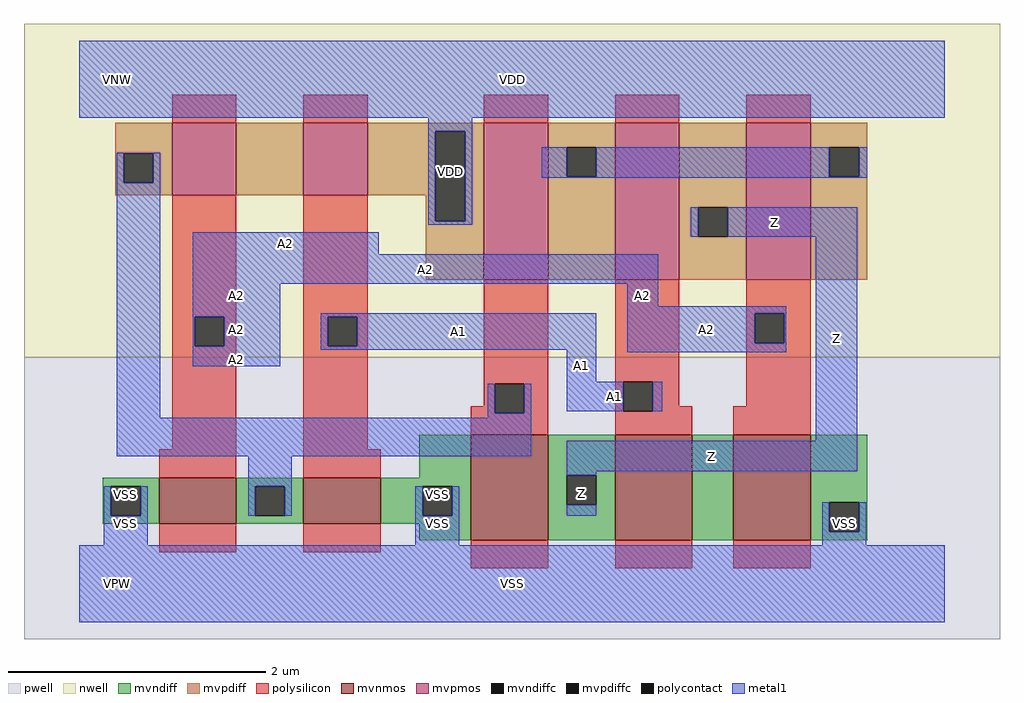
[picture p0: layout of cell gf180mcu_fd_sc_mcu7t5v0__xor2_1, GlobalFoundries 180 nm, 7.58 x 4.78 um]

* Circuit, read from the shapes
.subckt gf180mcu_fd_sc_mcu7t5v0__xor2_1 A1 A2 Z VDD VNW VPW VSS
XM1 n1 A2 VSS VPW nfet_06v0 w=0.36u l=0.6u
XM2 VSS A1 n1 VPW nfet_06v0 w=0.36u l=0.6u
XM3 Z n1 VSS VPW nfet_06v0 w=0.82u l=0.6u
XM4 n2 A1 Z VPW nfet_06v0 w=0.82u l=0.6u
XM5 VSS A2 n2 VPW nfet_06v0 w=0.82u l=0.6u
XM6 n3 A2 n1 VNW pfet_06v0 w=0.56u l=0.5u
XM7 VDD A1 n3 VNW pfet_06v0 w=0.56u l=0.5u
XM8 n4 n1 VDD VNW pfet_06v0 w=1.22u l=0.5u
XM9 Z A1 n4 VNW pfet_06v0 w=1.22u l=0.5u
XM10 n4 A2 Z VNW pfet_06v0 w=1.22u l=0.5u
.ends

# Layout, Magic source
magic
tech gf180mcuD
magscale 1 10
<< nwell >>
rect -86 352 1430 870
<< pwell >>
rect -86 -86 1430 352
<< mvnmos >>
rect 124 93 244 165
rect 348 93 468 165
rect 608 68 728 232
rect 832 68 952 232
rect 1016 68 1136 232
<< mvpmos >>
rect 144 604 244 716
rect 348 604 448 716
rect 628 472 728 716
rect 832 472 932 716
rect 1036 472 1136 716
<< mvndiff >>
rect 528 165 608 232
rect 36 152 124 165
rect 36 106 49 152
rect 95 106 124 152
rect 36 93 124 106
rect 244 152 348 165
rect 244 106 273 152
rect 319 106 348 152
rect 244 93 348 106
rect 468 152 608 165
rect 468 106 533 152
rect 579 106 608 152
rect 468 93 608 106
rect 528 68 608 93
rect 728 169 832 232
rect 728 123 757 169
rect 803 123 832 169
rect 728 68 832 123
rect 952 68 1016 232
rect 1136 127 1224 232
rect 1136 81 1165 127
rect 1211 81 1224 127
rect 1136 68 1224 81
<< mvpdiff >>
rect 56 669 144 716
rect 56 623 69 669
rect 115 623 144 669
rect 56 604 144 623
rect 244 604 348 716
rect 448 703 628 716
rect 448 604 553 703
rect 538 563 553 604
rect 599 563 628 703
rect 538 472 628 563
rect 728 678 832 716
rect 728 632 757 678
rect 803 632 832 678
rect 728 472 832 632
rect 932 585 1036 716
rect 932 539 961 585
rect 1007 539 1036 585
rect 932 472 1036 539
rect 1136 678 1224 716
rect 1136 632 1165 678
rect 1211 632 1224 678
rect 1136 472 1224 632
<< mvndiffc >>
rect 49 106 95 152
rect 273 106 319 152
rect 533 106 579 152
rect 757 123 803 169
rect 1165 81 1211 127
<< mvpdiffc >>
rect 69 623 115 669
rect 553 563 599 703
rect 757 632 803 678
rect 961 539 1007 585
rect 1165 632 1211 678
<< polysilicon >>
rect 144 716 244 760
rect 348 716 448 760
rect 628 716 728 760
rect 832 716 932 760
rect 1036 716 1136 760
rect 144 415 244 604
rect 144 369 179 415
rect 225 369 244 415
rect 144 209 244 369
rect 124 165 244 209
rect 348 415 448 604
rect 348 369 386 415
rect 432 369 448 415
rect 348 209 448 369
rect 628 311 728 472
rect 628 276 645 311
rect 608 265 645 276
rect 691 265 728 311
rect 608 232 728 265
rect 832 314 932 472
rect 832 268 845 314
rect 891 276 932 314
rect 1036 420 1136 472
rect 1036 374 1049 420
rect 1095 374 1136 420
rect 1036 276 1136 374
rect 891 268 952 276
rect 832 232 952 268
rect 1016 232 1136 276
rect 348 165 468 209
rect 124 49 244 93
rect 348 49 468 93
rect 608 24 728 68
rect 832 24 952 68
rect 1016 24 1136 68
<< polycontact >>
rect 179 369 225 415
rect 386 369 432 415
rect 645 265 691 311
rect 845 268 891 314
rect 1049 374 1095 420
<< metal1 >>
rect 0 724 1344 844
rect 542 703 610 724
rect 58 669 126 670
rect 58 623 69 669
rect 115 623 126 669
rect 58 258 126 623
rect 542 563 553 703
rect 599 563 610 703
rect 718 632 757 678
rect 803 632 1165 678
rect 1211 632 1224 678
rect 718 631 1224 632
rect 542 558 610 563
rect 176 512 465 546
rect 950 539 961 585
rect 1007 539 1208 585
rect 176 466 899 512
rect 176 415 312 466
rect 851 431 899 466
rect 851 420 1098 431
rect 176 369 179 415
rect 225 369 312 415
rect 176 338 312 369
rect 375 415 803 420
rect 375 369 386 415
rect 432 369 803 415
rect 375 364 803 369
rect 757 314 803 364
rect 851 374 1049 420
rect 1095 374 1098 420
rect 851 360 1098 374
rect 634 265 645 311
rect 691 265 702 311
rect 757 268 845 314
rect 891 268 905 314
rect 634 258 702 265
rect 58 198 702 258
rect 1144 222 1208 539
rect 262 152 330 198
rect 757 175 1208 222
rect 757 169 803 175
rect 38 106 49 152
rect 95 106 106 152
rect 262 106 273 152
rect 319 106 330 152
rect 522 106 533 152
rect 579 106 590 152
rect 757 106 803 123
rect 38 60 106 106
rect 522 60 590 106
rect 1154 81 1165 127
rect 1211 81 1222 127
rect 1154 60 1222 81
rect 0 -60 1344 60
<< labels >>
flabel metal1 s 0 724 1344 844 0 FreeSans 400 0 0 0 VDD
port 4 nsew power bidirectional abutment
flabel metal1 s 522 127 590 152 0 FreeSans 400 0 0 0 VSS
port 7 nsew ground bidirectional abutment
flabel metal1 s 950 539 1208 585 0 FreeSans 400 0 0 0 Z
port 3 nsew default output
flabel metal1 s 375 364 803 420 0 FreeSans 400 0 0 0 A1
port 1 nsew default input
flabel metal1 s 176 512 465 546 0 FreeSans 400 0 0 0 A2
port 2 nsew default input
flabel nwell s 10 734 110 834 0 FreeSans 400 0 0 0 VNW
port 5 nsew power bidirectional
flabel pwell s 10 -50 110 50 0 FreeSans 400 0 0 0 VPW
port 6 nsew ground bidirectional
rlabel metal1 s 757 314 803 364 1 A1
port 1 nsew default input
rlabel metal1 s 757 268 905 314 1 A1
port 1 nsew default input
rlabel metal1 s 176 466 899 512 1 A2
port 2 nsew default input
rlabel metal1 s 851 431 899 466 1 A2
port 2 nsew default input
rlabel metal1 s 176 431 312 466 1 A2
port 2 nsew default input
rlabel metal1 s 851 360 1098 431 1 A2
port 2 nsew default input
rlabel metal1 s 176 360 312 431 1 A2
port 2 nsew default input
rlabel metal1 s 176 338 312 360 1 A2
port 2 nsew default input
rlabel metal1 s 1144 222 1208 539 1 Z
port 3 nsew default output
rlabel metal1 s 757 175 1208 222 1 Z
port 3 nsew default output
rlabel metal1 s 757 106 803 175 1 Z
port 3 nsew default output
rlabel metal1 s 542 558 610 724 1 VDD
port 4 nsew power bidirectional abutment
rlabel metal1 s 38 127 106 152 1 VSS
port 7 nsew ground bidirectional abutment
rlabel metal1 s 1154 60 1222 127 1 VSS
port 7 nsew ground bidirectional abutment
rlabel metal1 s 522 60 590 127 1 VSS
port 7 nsew ground bidirectional abutment
rlabel metal1 s 38 60 106 127 1 VSS
port 7 nsew ground bidirectional abutment
rlabel metal1 s 0 -60 1344 60 1 VSS
port 7 nsew ground bidirectional abutment
<< properties >>
string FIXED_BBOX 0 0 1344 784
string GDS_END 360014
string GDS_FILE $PDKPATH/libs.ref/gf180mcu_fd_sc_mcu7t5v0/gds/gf180mcu_fd_sc_mcu7t5v0.gds
string GDS_START 356412
string LEFclass core
string LEFsite GF018hv5v_mcu_sc7
string LEFsymmetry X Y
<< end >>
